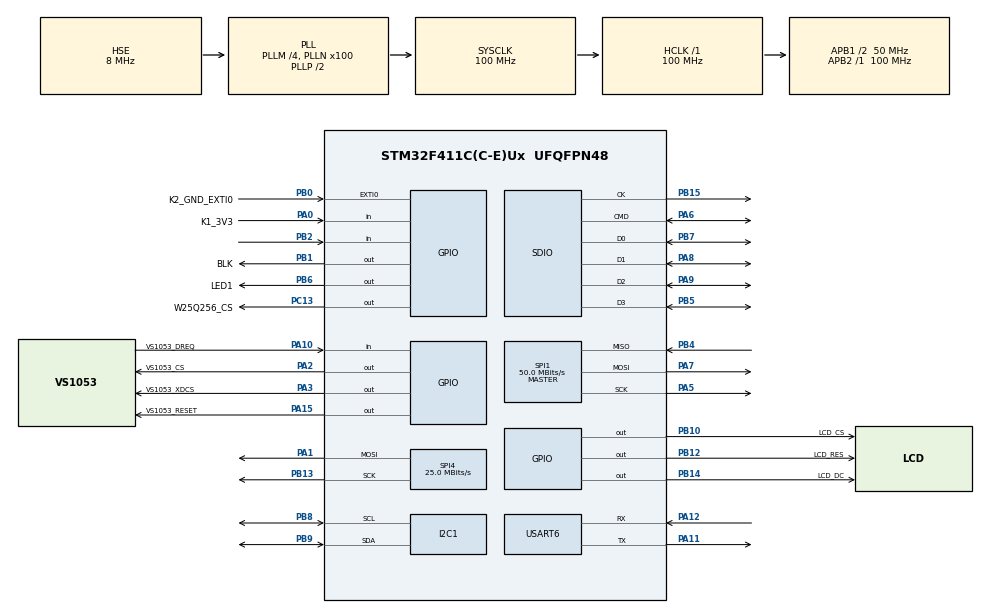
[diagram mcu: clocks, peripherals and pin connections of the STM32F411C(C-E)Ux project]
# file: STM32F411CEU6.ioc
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FATFS.BSP.number=1
FATFS._CODE_PAGE=936
FATFS._USE_LFN=1
FATFS0.BSP.STBoard=false
FATFS0.BSP.api=Unknown
FATFS0.BSP.instance=PB2
FATFS0.BSP.ip=GPIO
FATFS0.BSP.mode=Input
FATFS0.BSP.name=Detect_SDIO
FATFS0.BSP.solution=PB2
Mcu.Family=STM32F4
Mcu.Name=STM32F411C(C-E)Ux
Mcu.Package=UFQFPN48
NVIC.EXTI0_IRQn=true\:0\:0\:false\:false\:true\:true\:true\:true
NVIC.I2C1_ER_IRQn=true\:0\:0\:false\:false\:true\:true\:true\:true
NVIC.I2C1_EV_IRQn=true\:0\:0\:false\:false\:true\:true\:true\:true
NVIC.PriorityGroup=NVIC_PRIORITYGROUP_4
NVIC.SDIO_IRQn=true\:0\:0\:false\:false\:true\:true\:true\:true
NVIC.USART6_IRQn=true\:0\:0\:false\:false\:true\:true\:true\:true
PA0-WKUP.GPIO_Label=K1_3V3
PA0-WKUP.GPIO_Mode=GPIO_MODE_INPUT
PA0-WKUP.GPIO_PuPd=GPIO_PULLDOWN
PA0-WKUP.Signal=GPIO_Input
PA1.Mode=TX_Only_Simplex_Unidirect_Master
PA1.Signal=SPI4_MOSI
PA10.GPIO_Label=VS1053_DREQ
PA10.Signal=GPIO_Input
PA11.Mode=Asynchronous
PA11.Signal=USART6_TX
PA12.Mode=Asynchronous
PA12.Signal=USART6_RX
PA13.Mode=Serial_Wire
PA13.Signal=SYS_JTMS-SWDIO
PA14.Mode=Serial_Wire
PA14.Signal=SYS_JTCK-SWCLK
PA15.GPIO_Label=VS1053_RESET
PA15.GPIO_Speed=GPIO_SPEED_FREQ_HIGH
PA15.Signal=GPIO_Output
PA2.GPIO_Label=VS1053_CS
PA2.GPIO_Speed=GPIO_SPEED_FREQ_HIGH
PA2.Signal=GPIO_Output
PA3.GPIO_Label=VS1053_XDCS
PA3.GPIO_Speed=GPIO_SPEED_FREQ_HIGH
PA3.Signal=GPIO_Output
PA5.Mode=Full_Duplex_Master
PA5.Signal=SPI1_SCK
PA6.Mode=SD_4_bits_Wide_bus
PA6.Signal=SDIO_CMD
PA7.Mode=Full_Duplex_Master
PA7.Signal=SPI1_MOSI
PA8.Mode=SD_4_bits_Wide_bus
PA8.Signal=SDIO_D1
PA9.Mode=SD_4_bits_Wide_bus
PA9.Signal=SDIO_D2
PB0.GPIO_Label=K2_GND_EXTI0
PB0.GPIO_ModeDefaultEXTI=GPIO_MODE_IT_FALLING
PB0.GPIO_PuPd=GPIO_PULLUP
PB0.Signal=GPXTI0
PB1.GPIO_Label=BLK
PB1.GPIO_ModeDefaultOutputPP=GPIO_MODE_OUTPUT_PP
PB1.GPIO_PuPd=GPIO_PULLUP
PB1.GPIO_Speed=GPIO_SPEED_FREQ_VERY_HIGH
PB1.PinState=GPIO_PIN_SET
PB1.Signal=GPIO_Output
PB10.GPIO_Label=LCD_CS
PB10.GPIO_PuPd=GPIO_PULLUP
PB10.GPIO_Speed=GPIO_SPEED_FREQ_VERY_HIGH
PB10.PinState=GPIO_PIN_SET
PB10.Signal=GPIO_Output
PB12.GPIO_Label=LCD_RES
PB12.GPIO_PuPd=GPIO_PULLUP
PB12.GPIO_Speed=GPIO_SPEED_FREQ_VERY_HIGH
PB12.PinState=GPIO_PIN_SET
PB12.Signal=GPIO_Output
PB13.Mode=TX_Only_Simplex_Unidirect_Master
PB13.Signal=SPI4_SCK
PB14.GPIO_Label=LCD_DC
PB14.GPIO_PuPd=GPIO_PULLUP
PB14.GPIO_Speed=GPIO_SPEED_FREQ_VERY_HIGH
PB14.PinState=GPIO_PIN_SET
PB14.Signal=GPIO_Output
PB15.Mode=SD_4_bits_Wide_bus
PB15.Signal=SDIO_CK
PB2.GPIO_PuPd=GPIO_PULLUP
PB2.Signal=GPIO_Input
PB4.Mode=Full_Duplex_Master
PB4.Signal=SPI1_MISO
PB5.Mode=SD_4_bits_Wide_bus
PB5.Signal=SDIO_D3
PB6.GPIO_Label=LED1
PB6.GPIO_ModeDefaultOutputPP=GPIO_MODE_OUTPUT_PP
PB6.GPIO_PuPd=GPIO_PULLUP
PB6.Signal=GPIO_Output
PB7.Mode=SD_4_bits_Wide_bus
PB7.Signal=SDIO_D0
PB8.GPIO_Mode=GPIO_MODE_AF_OD
PB8.GPIO_Pu=GPIO_PULLUP
PB8.GPIO_Speed=GPIO_SPEED_FREQ_HIGH
PB8.Mode=I2C
PB8.Signal=I2C1_SCL
PB9.GPIO_Pu=GPIO_PULLUP
PB9.GPIO_Speed=GPIO_SPEED_FREQ_HIGH
PB9.Mode=I2C
PB9.Signal=I2C1_SDA
PC13-ANTI_TAMP.GPIO_Label=W25Q256_CS
PC13-ANTI_TAMP.GPIO_ModeDefaultOutputPP=GPIO_MODE_OUTPUT_PP
PC13-ANTI_TAMP.GPIO_PuPd=GPIO_PULLUP
PC13-ANTI_TAMP.GPIO_Speed=GPIO_SPEED_FREQ_LOW
PC13-ANTI_TAMP.Signal=GPIO_Output
PC14-OSC32_IN.Mode=LSE-External-Oscillator
PC14-OSC32_IN.Signal=RCC_OSC32_IN
PC15-OSC32_OUT.Mode=LSE-External-Oscillator
PC15-OSC32_OUT.Signal=RCC_OSC32_OUT
PH0\ -\ OSC_IN.Mode=HSE-External-Oscillator
PH0\ -\ OSC_IN.Signal=RCC_OSC_IN
PH1\ -\ OSC_OUT.Mode=HSE-External-Oscillator
PH1\ -\ OSC_OUT.Signal=RCC_OSC_OUT
ProjectManager.HeapSize=0x200
ProjectManager.StackSize=0x4000
ProjectManager.TargetToolchain=MDK-ARM V5
RCC.48MHZClocksFreq_Value=40000000
RCC.AHBFreq_Value=100000000
RCC.APB1CLKDivider=RCC_HCLK_DIV2
RCC.APB1Freq_Value=50000000
RCC.APB1TimFreq_Value=100000000
RCC.APB2Freq_Value=100000000
RCC.APB2TimFreq_Value=100000000
RCC.CortexFreq_Value=100000000
RCC.HCLKFreq_Value=100000000
RCC.HSE_VALUE=8000000
RCC.HSI_VALUE=16000000
RCC.PLLM=4
RCC.PLLN=100
RCC.PLLQ=5
RCC.PLLSourceVirtual=RCC_PLLSOURCE_HSE
RCC.RCC_RTC_Clock_Source=RCC_RTCCLKSOURCE_LSE
RCC.RCC_RTC_Clock_SourceVirtual=RCC_RTCCLKSOURCE_LSE
RCC.SYSCLKFreq_VALUE=100000000
RCC.SYSCLKSource=RCC_SYSCLKSOURCE_PLLCLK
RCC.VCOOutputFreq_Value=200000000
SDIO.ClockDiv=8
SDIO.HardwareFlowControl=SDIO_HARDWARE_FLOW_CONTROL_ENABLE
SPI1.BaudRatePrescaler=SPI_BAUDRATEPRESCALER_2
SPI1.CalculateBaudRate=50.0 MBits/s
SPI1.Direction=SPI_DIRECTION_2LINES
SPI1.Mode=SPI_MODE_MASTER
SPI1.VirtualType=VM_MASTER
SPI4.BaudRatePrescaler=SPI_BAUDRATEPRESCALER_4
SPI4.CLKPhase=SPI_PHASE_1EDGE
SPI4.CLKPolarity=SPI_POLARITY_LOW
SPI4.CalculateBaudRate=25.0 MBits/s
SPI4.Direction=SPI_DIRECTION_2LINES
SPI4.Mode=SPI_MODE_MASTER
SPI4.VirtualType=VM_MASTER
USART6.VirtualMode=VM_ASYNC
VP_FATFS_VS_SDIO.Mode=SDIO
board=custom

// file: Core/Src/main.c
/* USER CODE BEGIN Header */
/**
  ******************************************************************************
  * @file           : main.c
  * @brief          : Main program body
  ******************************************************************************
  * @attention
  *
  * <h2><center>&copy; Copyright (c) 2022 STMicroelectronics.
  * All rights reserved.</center></h2>
  *
  * This software component is licensed by ST under BSD 3-Clause license,
  * the "License"; You may not use this file except in compliance with the
  * License. You may obtain a copy of the License at:
  *                        opensource.org/licenses/BSD-3-Clause
  *
  ******************************************************************************
  */
/* USER CODE END Header */
#include "main.h"
#include "fatfs.h"
#include "i2c.h"
#include "sdio.h"
#include "spi.h"
#include "usart.h"
#include "gpio.h"

/* USER CODE BEGIN Includes */
#include "lcd.h"
#include "lcd_init.h"
#include "picture.h"
#include "shtc3.h"
#include "w25q256.h"
#include <stdbool.h>
#include <string.h>
#include <stdio.h>
#include "sdio_test.h"
#include "ff.h"
#include "ff_gen_drv.h"
#include "sd_diskio.h"
#include "vs1053.h"
#include "bl24cxx.h"
/* USER CODE END Includes */

/* USER CODE BEGIN PTD */
u8 Uart_Buff[13]="Hello Gerald!";
u8 Uart_Buff1[2];
SHTC3_Data_TypeDef SHTC3_Data;
u16 delay_pwm = 0;

//#define  DATA_Size			256
//#define  EEP_Firstpage      0x00
//uint8_t I2c_Buf_Write[DATA_Size];
//uint8_t I2c_Buf_Read[DATA_Size];
//uint8_t I2C_Test(void);

extern char Restart_Play_flag;
FATFS fs;													/* Work area (file system object) for logical drives */
char song_pt = 0;
uint8_t song_list[][20] = {"0:TestFile_1.mp3", 	//歌曲的数量会自动计算出来，用户只需要在此添加歌曲名即可
													 "0:TestFile_2.mp3"};

char song_number_max = 0;
/**
  * @brief  计算歌曲数量
  * @param  无
  * @retval 无
 */
void song_list_init(void)
{
	song_number_max=sizeof(song_list)/sizeof(song_list[0]);
}
//char SDpath[4]; /* SD逻辑驱动器路径 */
//FATFS fs;													/* FatFs文件系统对象 */
//FIL fnew;													/* 文件对象 */
//FRESULT res_sd;                /* 文件操作结果 */
//UINT fnum;            			  /* 文件成功读写数量 */
//BYTE ReadBuffer[1024]={0};        /* 读缓冲区 */
//BYTE WriteBuffer[] =              /* 写缓冲区*/
//"欢迎使用野火STM32 F407开发板 今天是个好日子，新建文件系统测试文件\r\n";
//extern FATFS flash_fs;
//extern const Diskio_drvTypeDef  SD_Driver;
//extern UART_HandleTypeDef huart1;   //声明串口
/* USER CODE END PTD */

/* USER CODE BEGIN PD */
#define K1_3V3 		HAL_GPIO_ReadPin(GPIOA,GPIO_PIN_0) //PA0
#define K2_GND 		HAL_GPIO_ReadPin(GPIOB,GPIO_PIN_0)	//PB0
#define K1_3V3_PRES 	1
#define K2_GND_PRES	  2

/* USER CODE END PD */

/* USER CODE BEGIN PV */
	uint16_t id = 0;
	const uint8_t test_TEXT[] = "W25Qxx test";
	uint8_t TXET_read[sizeof(test_TEXT)];
/* USER CODE END PV */

void SystemClock_Config(void);

/* USER CODE BEGIN 0 */
//void Uart1_printf(const char *format,...);

void HAL_GPIO_EXTI_Callback(uint16_t GPIO_Pin)
{
	if(GPIO_Pin == K2_GND_EXTI0_Pin) //判断是这样引脚产生中断
	{
		Restart_Play_flag = 1;
	}

}

//uint8_t I2C_Test(void)
//{
//	uint16_t i;

//	EEPROM_INFO("写入的数据");

//	for ( i=0; i<DATA_Size; i++ ) //填充缓冲
//	{
//		I2c_Buf_Write[i] =i;
//		printf("0x%02X ", I2c_Buf_Write[i]);
//		if(i%16 == 15)
//		printf("\n\r");
//	}

//	//将I2c_Buf_Write中顺序递增的数据写入EERPOM中
//	I2C_EE_BufferWrite( I2c_Buf_Write, EEP_Firstpage, DATA_Size);

//	EEPROM_INFO("读出的数据");
//	//将EEPROM读出数据顺序保持到I2c_Buf_Read中
//	I2C_EE_BufferRead(I2c_Buf_Read, EEP_Firstpage, DATA_Size);
//	//将I2c_Buf_Read中的数据通过串口打印
//	for (i=0; i<DATA_Size; i++)
//	{
//		if(I2c_Buf_Read[i] != I2c_Buf_Write[i])
//		{
//			printf("0x%02X ", I2c_Buf_Read[i]);
//			EEPROM_ERROR("错误:I2C EEPROM写入与读出的数据不一致");
//			return 0;
//		}
//		printf("0x%02X ", I2c_Buf_Read[i]);
//		if(i%16 == 15)
//		printf("\n\r");

//	}
//	EEPROM_INFO("I2C(AT24C02)读写测试成功");
//	return 1;
//}
//unsigned int count = 0;
//void TestSD(void)
//{
//    FRESULT f_res;
//    FIL file;
//    FATFS SD;
//		int len,len2;
//
//		//--- 挂载 TF/SD 卡 ---
//    f_res = f_mount(&SD, "0:", 1);
//    if(f_res == FR_OK) printf("SD mount OK!\r\n");
//    else printf("SD mount error = %d\r\n", f_res);

//    //FA_READ | FA_WRITE | FA_CREATE_ALWAYS | FA_CREATE_NEW | FA_OPEN_ALWAYS | FA_OPEN_APPEND | FA_SEEKEND
//    //f_res = f_open(&file,"0:test1.txt", FA_WRITE | FA_CREATE_ALWAYS);
//
//		//以写入方式打开test1.txt文件，如果不存在则创建该文件
//		f_res = f_open(&file,"0:test1.txt", FA_WRITE | FA_OPEN_ALWAYS);
//    if(f_res == FR_OK) printf("'test1.txt' Open OK!\r\n");
//    else printf("'test1.txt' Open error = %d\r\n", f_res);
//
//		//移动到文件末尾
//		f_res = f_lseek(&file, (&file)->fsize);
//
//		//数据写入文件
//		count++;
//    len = f_printf(&file, "%s", "\r\n0123456789\t"); //?????
//		len2 = f_printf(&file, "%d", count); //?????
//
//    if( len >= 0 ) printf("Write OK!write size = %d\t%d\r\n", (len+len2), count);
//    else printf("Write error!\r\n");

//		//写完文件后，关闭文件
//    f_res = f_close(&file); //?????,??????,??????
//    if(f_res == FR_OK) printf("'test1.txt' Close OK!\r\n");
//    else printf("'test1.txt' Close error = %d\r\n", f_res);
//
//		//取消挂载存储卡
//		f_res = f_mount(NULL, "0:", 1);
//		if(f_res == FR_OK) printf("SD unmount OK!\r\n");
//    else printf("SD unmount error = %d\r\n", f_res);
//
//		printf("\r\n");
//}
//void PWM_LED(void)
//{
//	while(delay_pwm<1000)
//	{
//			HAL_Delay(1);
//		  delay_pwm++;
//			TIM4->CCR1=delay_pwm;
//	}
//	while(delay_pwm>0)
//	{
//			HAL_Delay(1);
//		  delay_pwm--;
//			TIM4->CCR1=delay_pwm;
//	}
//}
//uint8_t KEY_Scan(uint8_t mode)
//{
//	static uint8_t key_up=1;//按键按松开标志
//	if(mode)key_up=1;  //支持连按
//	if(key_up&&(K1_3V3==1||K2_GND==0))
//	{
//		HAL_Delay(20);//去抖动
//		key_up=0;
//		if(K1_3V3==1)return 1;
//		else if(K2_GND==0)return 2;
//	}else if(K1_3V3==0&&K2_GND==1)key_up=1;
// 	return 0;// 无按键按下
//}
/* USER CODE END 0 */

int main(void)
{
  /* USER CODE BEGIN 1 */

//	uint8_t key_value;
  /* USER CODE END 1 */

  /* MCU Configuration--------------------------------------------------------*/

  /* Reset of all peripherals, Initializes the Flash interface and the Systick. */
  HAL_Init();

  /* Configure the system clock */
  SystemClock_Config();

  /* Initialize all configured peripherals */
  MX_GPIO_Init();
  MX_SPI4_Init();
  MX_I2C1_Init();
  MX_SPI1_Init();
  MX_SDIO_SD_Init();
  MX_FATFS_Init();
  MX_USART6_UART_Init();
  /* USER CODE BEGIN 2 */

//	HAL_TIM_Base_Start_IT(&htim4);
//	HAL_TIM_PWM_Start_IT(&htim4, TIM_CHANNEL_1);
//	HAL_TIM_Base_Start(&htim4);
//  HAL_TIM_PWM_Start(&htim4, TIM_CHANNEL_1);
//	LCD_Init();
//	LCD_Fill(0,0,LCD_W,LCD_H,WHITE);
//	HAL_UART_Transmit(&huart6,Uart_Buff,13,0xffff);
	HAL_GPIO_WritePin(LED1_GPIO_Port, LED1_Pin, GPIO_PIN_RESET);
//	Bmp_Init();

//	f_mount(&fs,"0:",1);
//	VS_Sine_Test();
//	VS_HD_Reset();
//	VS_Soft_Reset();
//	song_list_init();

	uint8_t buff[6];
	uint8_t res;
//	I2C_EE_Init();
	printf("测试程序开始\r\n");
	res = HAL_AT24CXX_Check();
	if(res == 0)
	{
		printf("AT24CXX OK!\r\n");
	}
	else
	{
		printf("AT24CXX ERROR!\r\n");
	}
	HAL_Delay(1000);
	HAL_AT24CXX_WriteLenByte(0,(uint8_t *)"hello",5);

	HAL_AT24CXX_ReadLenByte(0,buff,5);

	printf("buff:%s\r\n",buff);

	printf("测试程序结束\r\n");
	   //链接驱动器，创建盘符
//	FATFS_LinkDriver(&SD_Driver, SDpath);
//   //在外部SD卡挂载文件系统，文件系统挂载时会对SD卡初始化
//	res_sd = f_mount(&fs,"0:",1);
//   /*----------------------- 格式化测试 ---------------------------*/
//   /* 如果没有文件系统就格式化创建文件系统 */
//   if(res_sd == FR_NO_FILESYSTEM)
//   {
//      printf("》SD卡还没有文件系统，即将进行格式化...\r\n");
//      /* 格式化 */
//      res_sd= f_mkfs("0:",FM_FAT32,0,ReadBuffer,sizeof(ReadBuffer));

//      if(res_sd == FR_OK)
//      {
//        printf("》SD卡已成功格式化文件系统。\r\n");
//        /* 格式化后，先取消挂载 */
//        res_sd = f_mount(NULL,"0:",1);
//        /* 重新挂载	*/
//        res_sd = f_mount(&fs,"0:",1);
//      }
//      else
//      {
//        printf("《《格式化失败。》》\r\n");
//        while(1);
//      }
//   }
//   else if(res_sd!=FR_OK)
//   {
//      printf("！！SD卡挂载文件系统失败。(%d)\r\n",res_sd);
//      printf("！！可能原因：SD卡初始化不成功。\r\n");
//      while(1);
//   }
//   else
//   {
//      printf("》文件系统挂载成功，可以进行读写测试\r\n");
//   }
//    /*----------------------- 文件系统测试：写测试 -----------------------------*/
//    /* 打开文件，如果文件不存在则创建它 */
//    printf("\r\n****** 即将进行文件写入测试... ******\r\n");
//    res_sd = f_open(&fnew, "0:FatFs读写测试文件.txt",FA_CREATE_ALWAYS | FA_WRITE );
//    if ( res_sd == FR_OK )
//    {
//      printf("》打开/创建FatFs读写测试文件.txt文件成功，向文件写入数据。\r\n");
//      /* 将指定存储区内容写入到文件内 */
//      res_sd=f_write(&fnew,WriteBuffer,sizeof(WriteBuffer),&fnum);
//      if(res_sd==FR_OK)
//      {
//        printf("》文件写入成功，写入字节数据：%d\n",fnum);
//        printf("》向文件写入的数据为：\r\n%s\r\n",WriteBuffer);
//      }
//      else
//      {
//        printf("！！文件写入失败：(%d)\n",res_sd);
//      }
//      /* 不再读写，关闭文件 */
//      f_close(&fnew);
//    }
//    else
//    {
//      printf("！！打开/创建文件失败。\r\n");
//    }
//
//  /*------------------- 文件系统测试：读测试 ------------------------------------*/
//    printf("****** 即将进行文件读取测试... ******\r\n");
//    res_sd = f_open(&fnew, "0:FatFs读写测试文件.txt", FA_OPEN_EXISTING | FA_READ);
//    if(res_sd == FR_OK)
//    {
//      printf("》打开文件成功。\r\n");
//      res_sd = f_read(&fnew, ReadBuffer, sizeof(ReadBuffer), &fnum);
//      if(res_sd==FR_OK)
//      {
//        printf("》文件读取成功,读到字节数据：%d\r\n",fnum);
//        printf("》读取得的文件数据为：\r\n%s \r\n", ReadBuffer);
//      }
//      else
//      {
//        printf("！！文件读取失败：(%d)\n",res_sd);
//      }
//    }
//    else
//    {
//      printf("！！打开文件失败。\r\n");
//    }
//    /* 不再读写，关闭文件 */
//    f_close(&fnew);
//
//    /* 不再使用文件系统，取消挂载文件系统 */
//    f_mount(NULL,"0:",1);

  /* USER CODE END 2 */

  /* Infinite loop */
  while (1)
  {

    /* USER CODE BEGIN 3 */
//		vs1053_player_song(song_list[song_pt]);
//		if(HAL_UART_Receive(&huart6,Uart_Buff1,sizeof(Uart_Buff1),1000)==HAL_OK)
//		{
//			HAL_UART_Transmit(&huart6,Uart_Buff1,sizeof(Uart_Buff1),100);
//		}
//		HAL_UART_Transmit(&huart6, (uint8_t *)"hello windows!\r\n", 16 , 0xffff);
//		HAL_Delay(100);
//			if(I2C_Test() ==1)
//			{
////				HAL_GPIO_WritePin(LED1_GPIO_Port, LED1_Pin, GPIO_PIN_SET);
//				HAL_UART_Transmit(&huart6, (uint8_t *)"hello windows!\r\n", 16 , 0xffff);
//		    HAL_Delay(1000);
//			}
//			else
//			{
////				HAL_GPIO_WritePin(LED1_GPIO_Port, LED1_Pin, GPIO_PIN_RESET);
//				HAL_UART_Transmit(&huart6, (uint8_t *)"Hello windows!\r\n", 16 , 0xffff);
//		    HAL_Delay(1000);
//			}
//		PWM_LED();
//		key_value = KEY_Scan(0);
//		if(key_value)
//		{
//			switch(key_value)
//			{
//				case K1_3V3_PRES:	//控制LED1翻转
//					W25QXX_Write((uint8_t *)test_TEXT, 0x000000FF, sizeof(test_TEXT));
//				  HAL_GPIO_TogglePin(LED1_GPIO_Port, LED1_Pin);
//					break;
//				case K2_GND_PRES:	//控制LED1翻转
//					W25QXX_Read(TXET_read, 0x000000FF, sizeof(test_TEXT));
//				  HAL_GPIO_TogglePin(LED1_GPIO_Port, LED1_Pin);
//					break;
//			}
//		}
//		Sthc3ReadHumiAndTemp(&SHTC3_Data);
////  LCD_ShowPicture(0,0,160,96,gImage_1);
//		LCD_ShowString(0,0,"temp:",RED,WHITE,16,0);
//		LCD_ShowFloatNum1(38,0,SHTC3_Data.temp,4,RED,WHITE,16);
//		LCD_ShowString(80,0,"C",RED,WHITE,16,0);
//		LCD_ShowString(0,16,"humi:",RED,WHITE,16,0);
//		LCD_ShowFloatNum1(38,16,SHTC3_Data.humi,4,RED,WHITE,16);
//		LCD_ShowString(80,16,"%",RED,WHITE,16,0);
//		while(BMP280_GetStatus(BMP280_MEASURING) != RESET);
//		while(BMP280_GetStatus(BMP280_IM_UPDATE) != RESET);
//		LCD_ShowString(0,32,"pres:",RED,WHITE,16,0);
//		LCD_ShowFloatNum1(38,32,BMP280_Get_Pressure()/1000,6,RED,WHITE,16);
    /* USER CODE END WHILE */

    /* USER CODE BEGIN 3 */

	}
  /* USER CODE END 3 */
}

void SystemClock_Config(void)
{
  RCC_OscInitTypeDef RCC_OscInitStruct = {0};
  RCC_ClkInitTypeDef RCC_ClkInitStruct = {0};

  /** Configure the main internal regulator output voltage
  */
  __HAL_RCC_PWR_CLK_ENABLE();
  __HAL_PWR_VOLTAGESCALING_CONFIG(PWR_REGULATOR_VOLTAGE_SCALE1);

  /** Initializes the RCC Oscillators according to the specified parameters
  * in the RCC_OscInitTypeDef structure.
  */
  RCC_OscInitStruct.OscillatorType = RCC_OSCILLATORTYPE_HSE;
  RCC_OscInitStruct.HSEState = RCC_HSE_ON;
  RCC_OscInitStruct.PLL.PLLState = RCC_PLL_ON;
  RCC_OscInitStruct.PLL.PLLSource = RCC_PLLSOURCE_HSE;
  RCC_OscInitStruct.PLL.PLLM = 4;
  RCC_OscInitStruct.PLL.PLLN = 100;
  RCC_OscInitStruct.PLL.PLLP = RCC_PLLP_DIV2;
  RCC_OscInitStruct.PLL.PLLQ = 5;
  if (HAL_RCC_OscConfig(&RCC_OscInitStruct) != HAL_OK)
  {
    Error_Handler();
  }

  /** Initializes the CPU, AHB and APB buses clocks
  */
  RCC_ClkInitStruct.ClockType = RCC_CLOCKTYPE_HCLK|RCC_CLOCKTYPE_SYSCLK
                              |RCC_CLOCKTYPE_PCLK1|RCC_CLOCKTYPE_PCLK2;
  RCC_ClkInitStruct.SYSCLKSource = RCC_SYSCLKSOURCE_PLLCLK;
  RCC_ClkInitStruct.AHBCLKDivider = RCC_SYSCLK_DIV1;
  RCC_ClkInitStruct.APB1CLKDivider = RCC_HCLK_DIV2;
  RCC_ClkInitStruct.APB2CLKDivider = RCC_HCLK_DIV1;

  if (HAL_RCC_ClockConfig(&RCC_ClkInitStruct, FLASH_LATENCY_3) != HAL_OK)
  {
    Error_Handler();
  }
}

/* USER CODE BEGIN 4 */
//void HAL_UART_RxCpltCallback(UART_HandleTypeDef *huart)
//{
//  /* Prevent unused argument(s) compilation warning */
//  UNUSED(huart);
//  /* NOTE: This function Should not be modified, when the callback is needed,
//           the HAL_UART_TxCpltCallback could be implemented in the user file
//   */
//
//	if(Uart1_Rx_Cnt >= 255)  //溢出判断
//	{
//		Uart1_Rx_Cnt = 0;
//		memset(RxBuffer,0x00,sizeof(RxBuffer));
//		HAL_UART_Transmit(&huart2, (uint8_t *)"数据溢出", 10,0xFFFF);
//
//	}
//	else
//	{
//		RxBuffer[Uart1_Rx_Cnt++] = aRxBuffer;   //接收数据转存
//
//		if((RxBuffer[Uart1_Rx_Cnt-1] == 0x0A)&&(RxBuffer[Uart1_Rx_Cnt-2] == 0x0D)) //判断结束位
//		{
//			HAL_UART_Transmit(&huart2, (uint8_t *)&RxBuffer, Uart1_Rx_Cnt,0xFFFF); //将收到的信息发送出去
//            while(HAL_UART_GetState(&huart2) == HAL_UART_STATE_BUSY_TX);//检测UART发送结束
//			Uart1_Rx_Cnt = 0;
//			memset(RxBuffer,0x00,sizeof(RxBuffer)); //清空数组
//		}
//	}
//
//	HAL_UART_Receive_IT(&huart2, (uint8_t *)&aRxBuffer, 1);   //再开启接收中断
//}

/* USER CODE END 4 */

void Error_Handler(void)
{
  __disable_irq();
  while (1)
  {
  }
}
